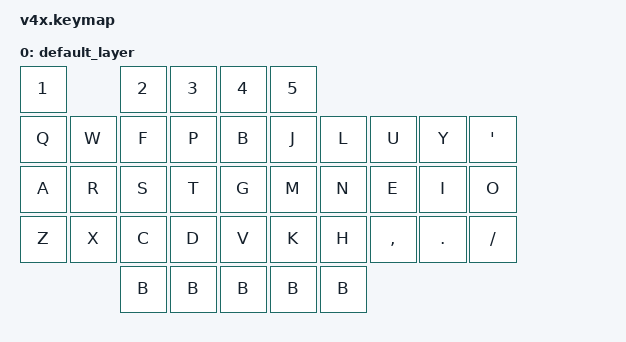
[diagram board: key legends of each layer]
#include <behaviors.dtsi>
#include <dt-bindings/zmk/keys.h>

/ {
    keymap {
        compatible = "zmk,keymap";

        default_layer {
          bindings = <
       &kp N1 &kp N2 &kp N3 &kp N4 &kp N5
    &kp Q &kp W &kp F &kp P &kp B &kp J &kp L &kp U &kp Y &kp SQT
    &kp A &kp R &kp S &kp T &kp G &kp M &kp N &kp E &kp I &kp O
    &kp Z &kp X &kp C &kp D &kp V &kp K &kp H &kp COMMA &kp DOT &kp SLASH
                &kp B &kp B &kp B &kp B &kp B
          >;
        };
    };
};
